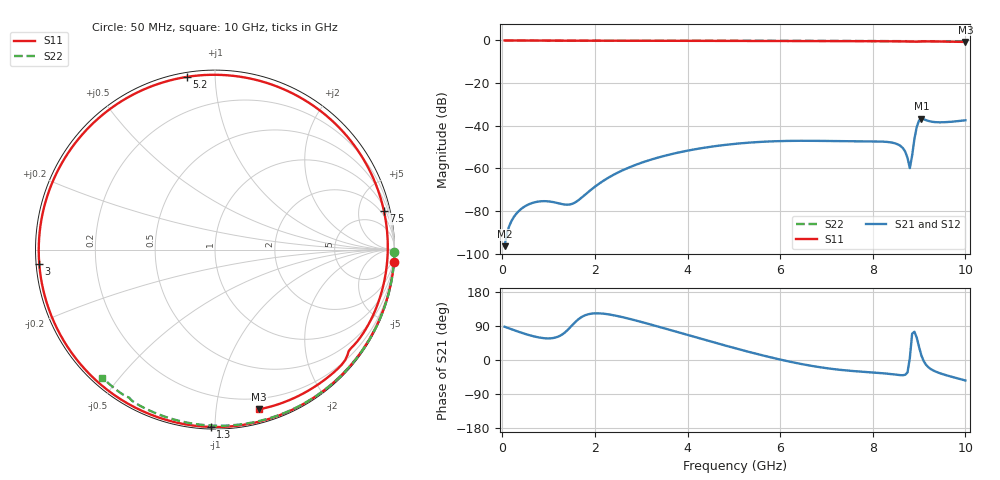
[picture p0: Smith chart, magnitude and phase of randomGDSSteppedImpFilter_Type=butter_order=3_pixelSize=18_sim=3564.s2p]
! freq	dB(S11)	phase(S11)	dB(S12)	phase(S12)
!  dB(S21)	phase(S21)	dB(S22)	phase(S22)
!S-par simulation data
#  GHz  S  DB  R 50
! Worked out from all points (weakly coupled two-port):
!   200 points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, 50 MHz to 10 GHz, reference 50 ohm
!   highest |S21| = -36.72 dB at 9.05 GHz (marker M1); lowest = -96.5 dB at 50 MHz (marker M2)
!   lowest |S11| = -0.7 dB at 10 GHz (marker M3), VSWR 24.99, Z = 5.44 - j65.4 ohm
!   |S11| at or under -10 dB: nowhere
!   |S22| runs from -0.5 to 0.0 dB; largest |S21 - S12| = 0
!   S11 on the Smith chart (normalised r, x): 50 MHz: 0, -30; 1.3 GHz: 0.01, -0.98; 3 GHz: 0.01, -0.04; 5.2 GHz: 0.02, +0.85; 7.5 GHz: 1.35, +8.60; 10 GHz: 0.11, -1.31
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0.05  -0.00 -3.9  -96.46 87.8  -96.46 87.8  -0.00 -0.8
0.35  -0.04 -26.6  -80.13 74.6  -80.13 74.6  -0.01 -5.3
0.7  -0.07 -52.0  -75.89 61.8  -75.89 61.8  -0.01 -10.6
1.3  -0.10 -91.3  -76.77 67.9  -76.77 67.9  -0.02 -19.5
1.5  -0.11 -103.1  -76.68 90.6  -76.68 90.6  -0.03 -22.5
1.75  -0.12 -117.0  -73.04 115.9  -73.04 115.9  -0.03 -26.2
2.35  -0.14 -146.9  -63.62 119.3  -63.62 119.3  -0.05 -34.9
3  -0.15 -175.5  -57.38 100.5  -57.38 100.5  -0.06 -44.2
3.4  -0.16 168.2  -54.70 87.0  -54.70 87.0  -0.07 -49.9
4.3  -0.19 133.3  -50.52 55.7  -50.52 55.7  -0.09 -62.2
5.05  -0.22 105.0  -48.43 30.3  -48.43 30.3  -0.11 -72.2
5.2  -0.22 99.3  -48.13 25.4  -48.13 25.4  -0.12 -74.1
5.95  -0.24 70.9  -47.22 2.6  -47.22 2.6  -0.14 -83.7
6.7  -0.27 42.6  -47.06 -15.9  -47.06 -15.9  -0.18 -93.0
7.5  -0.30 13.0  -47.27 -28.4  -47.27 -28.4  -0.23 -102.7
8.35  -0.39 -17.4  -47.68 -36.6  -47.68 -36.6  -0.29 -112.7
8.65  -0.45 -27.8  -50.47 -40.2  -50.47 -40.2  -0.31 -116.2
8.75  -0.48 -31.3  -55.06 -32.8  -55.06 -32.8  -0.32 -117.4
8.8  -0.51 -32.9  -59.86 5.0  -59.86 5.0  -0.33 -118.0
8.95  -0.58 -37.2  -40.51 58.9  -40.51 58.9  -0.40 -119.7
9.05  -0.43 -40.4  -36.72 11.9  -36.72 11.9  -0.41 -120.5
10  -0.70 -74.5  -37.43 -54.0  -37.43 -54.0  -0.45 -131.3
